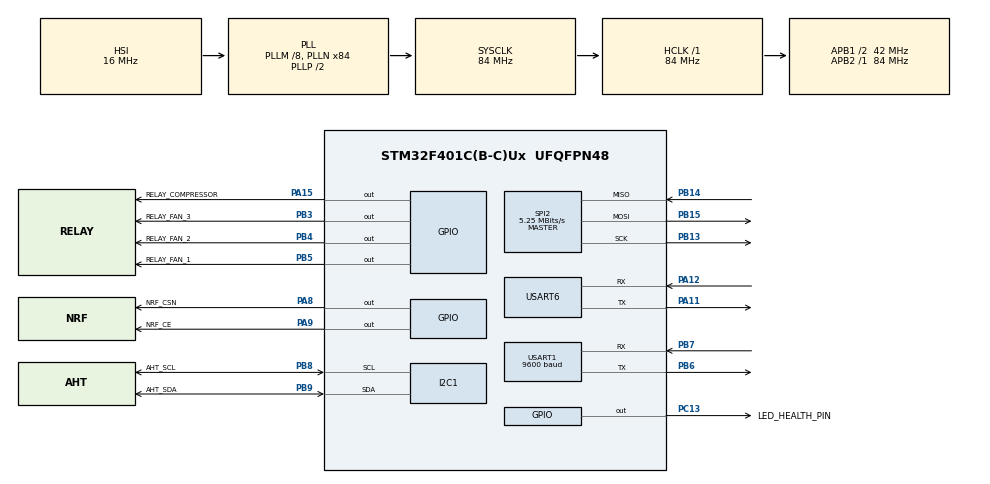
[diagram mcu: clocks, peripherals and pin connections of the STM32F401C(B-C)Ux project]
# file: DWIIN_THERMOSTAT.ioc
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Mcu.Family=STM32F4
Mcu.Name=STM32F401C(B-C)Ux
Mcu.Package=UFQFPN48
NVIC.PriorityGroup=NVIC_PRIORITYGROUP_4
NVIC.USART1_IRQn=true\:0\:0\:true\:false\:true\:true\:true\:true
PA11.Mode=Asynchronous
PA11.Signal=USART6_TX
PA12.Mode=Asynchronous
PA12.Signal=USART6_RX
PA15.GPIO_Label=RELAY_COMPRESSOR
PA15.Signal=GPIO_Output
PA8.GPIO_Label=NRF_CSN
PA8.Signal=GPIO_Output
PA9.GPIO_Label=NRF_CE
PA9.Signal=GPIO_Output
PB13.Mode=Full_Duplex_Master
PB13.Signal=SPI2_SCK
PB14.Mode=Full_Duplex_Master
PB14.Signal=SPI2_MISO
PB15.Mode=Full_Duplex_Master
PB15.Signal=SPI2_MOSI
PB3.GPIO_Label=RELAY_FAN_3
PB3.Signal=GPIO_Output
PB4.GPIO_Label=RELAY_FAN_2
PB4.Signal=GPIO_Output
PB5.GPIO_Label=RELAY_FAN_1
PB5.Signal=GPIO_Output
PB6.Mode=Asynchronous
PB6.Signal=USART1_TX
PB7.Mode=Asynchronous
PB7.Signal=USART1_RX
PB8.GPIO_Label=AHT_SCL
PB8.GPIO_Pu=GPIO_PULLUP
PB8.Mode=I2C
PB8.Signal=I2C1_SCL
PB9.GPIO_Label=AHT_SDA
PB9.GPIO_Pu=GPIO_PULLUP
PB9.Mode=I2C
PB9.Signal=I2C1_SDA
PC13-ANTI_TAMP.GPIO_Label=LED_HEALTH_PIN
PC13-ANTI_TAMP.Signal=GPIO_Output
PH0\ -\ OSC_IN.Mode=HSE-External-Oscillator
PH0\ -\ OSC_IN.Signal=RCC_OSC_IN
PH1\ -\ OSC_OUT.Mode=HSE-External-Oscillator
PH1\ -\ OSC_OUT.Signal=RCC_OSC_OUT
ProjectManager.HeapSize=0x200
ProjectManager.StackSize=0x400
ProjectManager.TargetToolchain=STM32CubeIDE
RCC.48MHZClocksFreq_Value=42000000
RCC.AHBFreq_Value=84000000
RCC.APB1CLKDivider=RCC_HCLK_DIV2
RCC.APB1Freq_Value=42000000
RCC.APB1TimFreq_Value=84000000
RCC.APB2Freq_Value=84000000
RCC.APB2TimFreq_Value=84000000
RCC.CortexFreq_Value=84000000
RCC.HCLKFreq_Value=84000000
RCC.HSE_VALUE=25000000
RCC.HSI_VALUE=16000000
RCC.LSE_VALUE=32768
RCC.PLLM=8
RCC.PLLN=84
RCC.SYSCLKFreq_VALUE=84000000
RCC.SYSCLKSource=RCC_SYSCLKSOURCE_PLLCLK
RCC.VCOOutputFreq_Value=168000000
SPI2.BaudRatePrescaler=SPI_BAUDRATEPRESCALER_8
SPI2.CalculateBaudRate=5.25 MBits/s
SPI2.Direction=SPI_DIRECTION_2LINES
SPI2.Mode=SPI_MODE_MASTER
SPI2.VirtualType=VM_MASTER
USART1.BaudRate=9600
USART1.VirtualMode=VM_ASYNC
USART6.VirtualMode=VM_ASYNC
board=custom

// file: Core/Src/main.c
/* USER CODE BEGIN Header */
/**
 ******************************************************************************
 * @file           : main.c
 * @brief          : Main program body
 ******************************************************************************
 * @attention
 *
 * Copyright (c) 2023 STMicroelectronics.
 * All rights reserved.
 *
 * This software is licensed under terms that can be found in the LICENSE file
 * in the root directory of this software component.
 * If no LICENSE file comes with this software, it is provided AS-IS.
 *
 ******************************************************************************
 */
/* USER CODE END Header */
#include "main.h"

/* USER CODE BEGIN Includes */
#include "utility.h"
#include "lcd.h"
#include "AHT21.h"
#include "MY_NRF24.h"
/* USER CODE END Includes */

I2C_HandleTypeDef hi2c1;

SPI_HandleTypeDef hspi2;

UART_HandleTypeDef huart1;
UART_HandleTypeDef huart6;

void SystemClock_Config(void);
static void MX_GPIO_Init(void);
static void MX_USART1_UART_Init(void);
static void MX_SPI2_Init(void);
static void MX_I2C1_Init(void);
static void MX_USART6_UART_Init(void);

/* USER CODE BEGIN 0 */
uint8_t r;
extern bool current_power_status;
/* USER CODE END 0 */

int main(void) {

	/* MCU Configuration--------------------------------------------------------*/

	/* Reset of all peripherals, Initializes the Flash interface and the Systick. */
	HAL_Init();

	/* Configure the system clock */
	SystemClock_Config();

	/* Initialize all configured peripherals */
	MX_GPIO_Init();
	MX_USART1_UART_Init();
	MX_SPI2_Init();
	MX_I2C1_Init();
	MX_USART6_UART_Init();
	/* USER CODE BEGIN 2 */
	__HAL_UART_ENABLE_IT(&huart1, UART_IT_RXNE);
	NRF_init_as_thermo_node();
	thermostat_display_initial_setup();
	/* USER CODE END 2 */

	/* Infinite loop */
	/* USER CODE BEGIN WHILE */
	while (1) {
		update_dwin_lcd();
		/* USER CODE END WHILE */

		/* USER CODE BEGIN 3 */
		//THERMOSTAT CODE
		if (current_power_status == power_status_on) {
			adjust_temperature();
			if (NRF24_available()) {
				Manage_NRF_Data();
			}
		}
		HAL_Delay(100);
		HAL_GPIO_TogglePin(LED_HEALTH_PIN_GPIO_Port, LED_HEALTH_PIN_Pin);
	}
	/* USER CODE END 3 */
}

void SystemClock_Config(void) {
	RCC_OscInitTypeDef RCC_OscInitStruct = { 0 };
	RCC_ClkInitTypeDef RCC_ClkInitStruct = { 0 };

	/** Configure the main internal regulator output voltage
	 */
	__HAL_RCC_PWR_CLK_ENABLE();
	__HAL_PWR_VOLTAGESCALING_CONFIG(PWR_REGULATOR_VOLTAGE_SCALE2);

	/** Initializes the RCC Oscillators according to the specified parameters
	 * in the RCC_OscInitTypeDef structure.
	 */
	RCC_OscInitStruct.OscillatorType = RCC_OSCILLATORTYPE_HSI;
	RCC_OscInitStruct.HSIState = RCC_HSI_ON;
	RCC_OscInitStruct.HSICalibrationValue = RCC_HSICALIBRATION_DEFAULT;
	RCC_OscInitStruct.PLL.PLLState = RCC_PLL_ON;
	RCC_OscInitStruct.PLL.PLLSource = RCC_PLLSOURCE_HSI;
	RCC_OscInitStruct.PLL.PLLM = 8;
	RCC_OscInitStruct.PLL.PLLN = 84;
	RCC_OscInitStruct.PLL.PLLP = RCC_PLLP_DIV2;
	RCC_OscInitStruct.PLL.PLLQ = 4;
	if (HAL_RCC_OscConfig(&RCC_OscInitStruct) != HAL_OK) {
		Error_Handler();
	}

	/** Initializes the CPU, AHB and APB buses clocks
	 */
	RCC_ClkInitStruct.ClockType = RCC_CLOCKTYPE_HCLK | RCC_CLOCKTYPE_SYSCLK
			| RCC_CLOCKTYPE_PCLK1 | RCC_CLOCKTYPE_PCLK2;
	RCC_ClkInitStruct.SYSCLKSource = RCC_SYSCLKSOURCE_PLLCLK;
	RCC_ClkInitStruct.AHBCLKDivider = RCC_SYSCLK_DIV1;
	RCC_ClkInitStruct.APB1CLKDivider = RCC_HCLK_DIV2;
	RCC_ClkInitStruct.APB2CLKDivider = RCC_HCLK_DIV1;

	if (HAL_RCC_ClockConfig(&RCC_ClkInitStruct, FLASH_LATENCY_2) != HAL_OK) {
		Error_Handler();
	}
}

static void MX_I2C1_Init(void) {

	hi2c1.Instance = I2C1;
	hi2c1.Init.ClockSpeed = 100000;
	hi2c1.Init.DutyCycle = I2C_DUTYCYCLE_2;
	hi2c1.Init.OwnAddress1 = 0;
	hi2c1.Init.AddressingMode = I2C_ADDRESSINGMODE_7BIT;
	hi2c1.Init.DualAddressMode = I2C_DUALADDRESS_DISABLE;
	hi2c1.Init.OwnAddress2 = 0;
	hi2c1.Init.GeneralCallMode = I2C_GENERALCALL_DISABLE;
	hi2c1.Init.NoStretchMode = I2C_NOSTRETCH_DISABLE;
	if (HAL_I2C_Init(&hi2c1) != HAL_OK) {
		Error_Handler();
	}

}

static void MX_SPI2_Init(void) {

	/* SPI2 parameter configuration*/
	hspi2.Instance = SPI2;
	hspi2.Init.Mode = SPI_MODE_MASTER;
	hspi2.Init.Direction = SPI_DIRECTION_2LINES;
	hspi2.Init.DataSize = SPI_DATASIZE_8BIT;
	hspi2.Init.CLKPolarity = SPI_POLARITY_LOW;
	hspi2.Init.CLKPhase = SPI_PHASE_1EDGE;
	hspi2.Init.NSS = SPI_NSS_SOFT;
	hspi2.Init.BaudRatePrescaler = SPI_BAUDRATEPRESCALER_8;
	hspi2.Init.FirstBit = SPI_FIRSTBIT_MSB;
	hspi2.Init.TIMode = SPI_TIMODE_DISABLE;
	hspi2.Init.CRCCalculation = SPI_CRCCALCULATION_DISABLE;
	hspi2.Init.CRCPolynomial = 10;
	if (HAL_SPI_Init(&hspi2) != HAL_OK) {
		Error_Handler();
	}

}

static void MX_USART1_UART_Init(void) {

	huart1.Instance = USART1;
	huart1.Init.BaudRate = 9600;
	huart1.Init.WordLength = UART_WORDLENGTH_8B;
	huart1.Init.StopBits = UART_STOPBITS_1;
	huart1.Init.Parity = UART_PARITY_NONE;
	huart1.Init.Mode = UART_MODE_TX_RX;
	huart1.Init.HwFlowCtl = UART_HWCONTROL_NONE;
	huart1.Init.OverSampling = UART_OVERSAMPLING_16;
	if (HAL_UART_Init(&huart1) != HAL_OK) {
		Error_Handler();
	}

}

static void MX_USART6_UART_Init(void) {

	huart6.Instance = USART6;
	huart6.Init.BaudRate = 115200;
	huart6.Init.WordLength = UART_WORDLENGTH_8B;
	huart6.Init.StopBits = UART_STOPBITS_1;
	huart6.Init.Parity = UART_PARITY_NONE;
	huart6.Init.Mode = UART_MODE_TX_RX;
	huart6.Init.HwFlowCtl = UART_HWCONTROL_NONE;
	huart6.Init.OverSampling = UART_OVERSAMPLING_16;
	if (HAL_UART_Init(&huart6) != HAL_OK) {
		Error_Handler();
	}

}

static void MX_GPIO_Init(void) {
	GPIO_InitTypeDef GPIO_InitStruct = { 0 };

	/* GPIO Ports Clock Enable */
	__HAL_RCC_GPIOC_CLK_ENABLE();
	__HAL_RCC_GPIOH_CLK_ENABLE();
	__HAL_RCC_GPIOB_CLK_ENABLE();
	__HAL_RCC_GPIOA_CLK_ENABLE();

	/*Configure GPIO pin Output Level */
	HAL_GPIO_WritePin(LED_HEALTH_PIN_GPIO_Port, LED_HEALTH_PIN_Pin,
			GPIO_PIN_RESET);

	/*Configure GPIO pin Output Level */
	HAL_GPIO_WritePin(GPIOA, NRF_CSN_Pin | NRF_CE_Pin | RELAY_COMPRESSOR_Pin,
			GPIO_PIN_RESET);

	/*Configure GPIO pin Output Level */
	HAL_GPIO_WritePin(GPIOB,
	RELAY_FAN_3_Pin | RELAY_FAN_2_Pin | RELAY_FAN_1_Pin, GPIO_PIN_RESET);

	/*Configure GPIO pin : LED_HEALTH_PIN_Pin */
	GPIO_InitStruct.Pin = LED_HEALTH_PIN_Pin;
	GPIO_InitStruct.Mode = GPIO_MODE_OUTPUT_PP;
	GPIO_InitStruct.Pull = GPIO_NOPULL;
	GPIO_InitStruct.Speed = GPIO_SPEED_FREQ_LOW;
	HAL_GPIO_Init(LED_HEALTH_PIN_GPIO_Port, &GPIO_InitStruct);

	/*Configure GPIO pins : NRF_CSN_Pin NRF_CE_Pin RELAY_COMPRESSOR_Pin */
	GPIO_InitStruct.Pin = NRF_CSN_Pin | NRF_CE_Pin | RELAY_COMPRESSOR_Pin;
	GPIO_InitStruct.Mode = GPIO_MODE_OUTPUT_PP;
	GPIO_InitStruct.Pull = GPIO_NOPULL;
	GPIO_InitStruct.Speed = GPIO_SPEED_FREQ_LOW;
	HAL_GPIO_Init(GPIOA, &GPIO_InitStruct);

	/*Configure GPIO pins : RELAY_FAN_3_Pin RELAY_FAN_2_Pin RELAY_FAN_1_Pin */
	GPIO_InitStruct.Pin = RELAY_FAN_3_Pin | RELAY_FAN_2_Pin | RELAY_FAN_1_Pin;
	GPIO_InitStruct.Mode = GPIO_MODE_OUTPUT_PP;
	GPIO_InitStruct.Pull = GPIO_NOPULL;
	GPIO_InitStruct.Speed = GPIO_SPEED_FREQ_LOW;
	HAL_GPIO_Init(GPIOB, &GPIO_InitStruct);

}

/* USER CODE BEGIN 4 */
void HAL_UART_RxCpltCallback(UART_HandleTypeDef *huart) {
	dwinRx(r);
//	HAL_GPIO_TogglePin(LED_HEALTH_PIN_GPIO_Port, LED_HEALTH_PIN_Pin);
}
/* USER CODE END 4 */

void Error_Handler(void) {
	__disable_irq();
	while (1) {
	}
}
